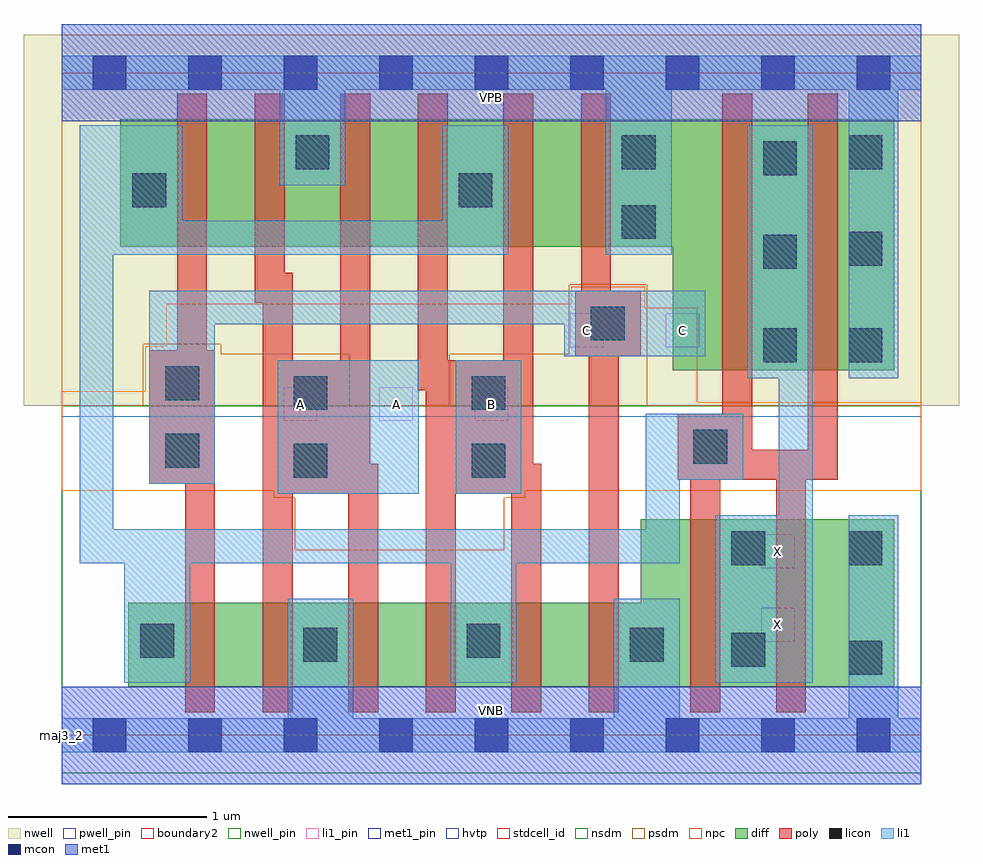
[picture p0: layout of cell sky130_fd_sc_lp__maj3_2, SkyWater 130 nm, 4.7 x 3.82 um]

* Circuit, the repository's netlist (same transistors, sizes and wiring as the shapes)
* Copyright 2020 The SkyWater PDK Authors
*
* Licensed under the Apache License, Version 2.0 (the "License");
* you may not use this file except in compliance with the License.
* You may obtain a copy of the License at
*
*     https://www.apache.org/licenses/LICENSE-2.0
*
* Unless required by applicable law or agreed to in writing, software
* distributed under the License is distributed on an "AS IS" BASIS,
* WITHOUT WARRANTIES OR CONDITIONS OF ANY KIND, either express or implied.
* See the License for the specific language governing permissions and
* limitations under the License.
*
* SPDX-License-Identifier: Apache-2.0

.SUBCKT sky130_fd_sc_lp__maj3_2 A B C VGND VNB VPB VPWR X
*.PININFO A:I B:I C:I VGND:I VNB:I VPB:I VPWR:I X:O
MMIN2 X y VGND VNB sky130_fd_pr__nfet_01v8 m=2 w=0.84U l=0.15U mult=1 sa=0.265
+ sb=0.265 sd=0.28 area=0.063 perim=1.14
MMN10 y B sndNBa VNB sky130_fd_pr__nfet_01v8 m=1 w=0.42U l=0.15U mult=1 sa=0.265
+ sb=0.265 sd=0.28 area=0.063 perim=1.14
MMN11 sndNBa A VGND VNB sky130_fd_pr__nfet_01v8 m=1 w=0.42U l=0.15U mult=1 sa=0.265
+ sb=0.265 sd=0.28 area=0.063 perim=1.14
MMN20 y B sndNBc VNB sky130_fd_pr__nfet_01v8 m=1 w=0.42U l=0.15U mult=1 sa=0.265
+ sb=0.265 sd=0.28 area=0.063 perim=1.14
MMN21 sndNBc C VGND VNB sky130_fd_pr__nfet_01v8 m=1 w=0.42U l=0.15U mult=1 sa=0.265
+ sb=0.265 sd=0.28 area=0.063 perim=1.14
MMN30 y C sndNCa VNB sky130_fd_pr__nfet_01v8 m=1 w=0.42U l=0.15U mult=1 sa=0.265
+ sb=0.265 sd=0.28 area=0.063 perim=1.14
MMN31 sndNCa A VGND VNB sky130_fd_pr__nfet_01v8 m=1 w=0.42U l=0.15U mult=1 sa=0.265
+ sb=0.265 sd=0.28 area=0.063 perim=1.14
MMIP2 X y VPWR VPB sky130_fd_pr__pfet_01v8_hvt m=2 w=1.26U l=0.15U mult=1 sa=0.265
+ sb=0.265 sd=0.28 area=0.063 perim=1.14
MMP10 VPWR A sndPAb VPB sky130_fd_pr__pfet_01v8_hvt m=1 w=0.64U l=0.15U mult=1
+ sa=0.265 sb=0.265 sd=0.28 area=0.063 perim=1.14
MMP11 sndPAb B y VPB sky130_fd_pr__pfet_01v8_hvt m=1 w=0.64U l=0.15U mult=1 sa=0.265
+ sb=0.265 sd=0.28 area=0.063 perim=1.14
MMP20 VPWR C sndPCb VPB sky130_fd_pr__pfet_01v8_hvt m=1 w=0.64U l=0.15U mult=1
+ sa=0.265 sb=0.265 sd=0.28 area=0.063 perim=1.14
MMP21 sndPCb B y VPB sky130_fd_pr__pfet_01v8_hvt m=1 w=0.64U l=0.15U mult=1 sa=0.265
+ sb=0.265 sd=0.28 area=0.063 perim=1.14
MMP30 VPWR A sndPAc VPB sky130_fd_pr__pfet_01v8_hvt m=1 w=0.64U l=0.15U mult=1
+ sa=0.265 sb=0.265 sd=0.28 area=0.063 perim=1.14
MMP31 sndPAc C y VPB sky130_fd_pr__pfet_01v8_hvt m=1 w=0.64U l=0.15U mult=1 sa=0.265
+ sb=0.265 sd=0.28 area=0.063 perim=1.14
.ENDS sky130_fd_sc_lp__maj3_2

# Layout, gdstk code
import gdstk
lib = gdstk.Library(unit=1e-6, precision=1e-09)
def R(c, l, rs):  # rectangles x0, y0, x1, y1
    for r in rs: c.add(gdstk.rectangle(r[:2], r[2:], *l))
def A(c, l, x, y, w, h, nx, ny, dx, dy):  # array of equal rectangles
    R(c, l, [(x+i*dx, y+j*dy, x+i*dx+w, y+j*dy+h) for i in range(nx) for j in range(ny)])
def P(c, l, *ps):  # polygons
    for p in ps: c.add(gdstk.Polygon(p, *l))
nwell_pin = (64, 16)
nwell = (64, 20)
diff = (65, 20)
poly = (66, 20)
licon = (66, 44)
li1_pin = (67, 16)
li1 = (67, 20)
mcon = (67, 44)
met1_pin = (68, 16)
met1 = (68, 20)
hvtp = (78, 44)
stdcell_id = (81, 4)
nsdm = (93, 44)
psdm = (94, 20)
npc = (95, 20)
pwell_pin = (122, 16)
boundary2 = (236, 0)

sky130_fd_sc_lp__maj3_2 = lib.new_cell('sky130_fd_sc_lp__maj3_2')
R(sky130_fd_sc_lp__maj3_2, nwell_pin, [(0,3.085,4.32,3.33)])
R(sky130_fd_sc_lp__maj3_2, nwell, [(-0.19,1.655,4.51,3.52)])
P(sky130_fd_sc_lp__maj3_2, diff, [(4.185,3.095),(0.295,3.095),(0.295,2.455),(3.07,2.455),(3.07,1.835),(4.185,1.835)],
  [(4.185,1.085),(2.91,1.085),(2.91,0.665),(0.335,0.665),(0.335,0.245),(4.185,0.245)])
P(sky130_fd_sc_lp__maj3_2, poly, [(0.77,1.935),(0.73,1.935),(0.73,3.225),(0.58,3.225),(0.58,1.935),(0.44,1.935),(0.44,1.265),(0.62,1.265),(0.62,0.115),(0.77,0.115)],
  [(1.59,1.365),(1.55,1.365),(1.55,3.225),(1.4,3.225),(1.4,1.885),(1.16,1.885),(1.16,2.325),(1.12,2.325),(1.12,3.225),(0.97,3.225),(0.97,2.175),(1.01,2.175),(1.01,0.115),(1.16,0.115),(1.16,1.215),(1.44,1.215),(1.44,0.115),(1.59,0.115)],
  [(2.41,1.365),(2.37,1.365),(2.37,3.225),(2.22,3.225),(2.22,1.885),(1.94,1.885),(1.94,3.225),(1.79,3.225),(1.79,1.735),(1.83,1.735),(1.83,0.115),(1.98,0.115),(1.98,1.215),(2.26,1.215),(2.26,0.115),(2.41,0.115)],
  [(2.91,2.235),(2.76,2.235),(2.76,3.225),(2.61,3.225),(2.61,2.235),(2.58,2.235),(2.58,1.905),(2.65,1.905),(2.65,0.115),(2.8,0.115),(2.8,1.905),(2.91,1.905)],
  [(3.9,3.225),(3.75,3.225),(3.75,1.435),(3.47,1.435),(3.47,3.225),(3.32,3.225),(3.32,1.615),(3.095,1.615),(3.095,1.285),(3.16,1.285),(3.16,0.115),(3.31,0.115),(3.31,1.285),(3.59,1.285),(3.59,0.115),(3.74,0.115),(3.74,1.285),(3.9,1.285)])
A(sky130_fd_sc_lp__maj3_2, licon, 3.525, 1.875, 0.17, 0.17, 1, 3, 0, 0.47)
A(sky130_fd_sc_lp__maj3_2, licon, 3.955, 1.875, 0.17, 0.17, 1, 3, 0, 0.485)
R(sky130_fd_sc_lp__maj3_2, licon, [(3.955,0.305,4.125,0.475), (3.365,0.345,3.535,0.515), (1.215,0.37,1.385,0.54), (2.855,0.37,3.025,0.54), (0.395,0.39,0.565,0.56), (2.035,0.39,2.205,0.56), (3.365,0.855,3.535,1.025), (3.955,0.855,4.125,1.025), (1.165,1.295,1.335,1.465), (2.06,1.295,2.23,1.465), (0.52,1.345,0.69,1.515), (3.175,1.365,3.345,1.535), (1.165,1.635,1.335,1.805), (2.06,1.635,2.23,1.805), (0.52,1.685,0.69,1.855), (2.66,1.985,2.83,2.155), (2.815,2.495,2.985,2.665), (0.355,2.655,0.525,2.825), (1.995,2.655,2.165,2.825), (1.175,2.845,1.345,3.015), (2.815,2.845,2.985,3.015)])
A(sky130_fd_sc_lp__maj3_2, li1_pin, 1.115, 1.58, 0.17, 0.17, 3, 1, 0.48, 0)
R(sky130_fd_sc_lp__maj3_2, li1_pin, [(3.515,0.47,3.685,0.64), (3.515,0.84,3.685,1.01), (2.555,1.95,2.725,2.12), (3.035,1.95,3.205,2.12)])
R(sky130_fd_sc_lp__maj3_2, li1, [(1.085,1.215,1.795,1.885), (1.98,1.215,2.31,1.885)])
P(sky130_fd_sc_lp__maj3_2, li1, [(3.955,1.795),(3.955,3.245),(3.065,3.245),(3.065,2.415),(2.735,2.415),(2.735,3.245),(1.425,3.245),(1.425,2.765),(1.095,2.765),(1.095,3.245),(0,3.245),(0,3.415),(4.32,3.415),(4.32,3.245),(4.205,3.245),(4.205,1.795)],
  [(2.775,0.085),(2.775,0.685),(3.105,0.685),(3.105,0.085),(3.955,0.085),(3.955,1.105),(4.205,1.105),(4.205,0.085),(4.32,0.085),(4.32,-0.085),(0,-0.085),(0,0.085),(1.135,0.085),(1.135,0.685),(1.465,0.685),(1.465,0.085)],
  [(3.285,0.265),(3.285,1.105),(3.605,1.105),(3.605,1.795),(3.445,1.795),(3.445,3.065),(3.775,3.065),(3.775,0.265)],
  [(0.09,0.865),(0.09,3.065),(0.605,3.065),(0.605,2.585),(1.915,2.585),(1.915,3.065),(2.245,3.065),(2.245,2.415),(0.26,2.415),(0.26,1.035),(2.935,1.035),(2.935,1.615),(3.425,1.615),(3.425,1.285),(3.105,1.285),(3.105,0.865),(2.285,0.865),(2.285,0.265),(1.955,0.265),(1.955,0.865),(0.645,0.865),(0.645,0.265),(0.315,0.265),(0.315,0.865)],
  [(2.525,2.065),(0.77,2.065),(0.77,1.265),(0.44,1.265),(0.44,2.235),(3.235,2.235),(3.235,1.905),(2.525,1.905)])
A(sky130_fd_sc_lp__maj3_2, mcon, 0.155, -0.085, 0.17, 0.17, 9, 2, 0.48, 3.33)
R(sky130_fd_sc_lp__maj3_2, met1_pin, [(0,0,4.32,0.245), (0,3.085,4.32,3.33)])
R(sky130_fd_sc_lp__maj3_2, met1, [(0,-0.245,4.32,0.245), (0,3.085,4.32,3.575)])
R(sky130_fd_sc_lp__maj3_2, hvtp, [(0,1.6,4.32,3.33)])
R(sky130_fd_sc_lp__maj3_2, stdcell_id, [(0,0,4.32,3.33)])
R(sky130_fd_sc_lp__maj3_2, nsdm, [(0,-0.19,4.32,1.655)])
P(sky130_fd_sc_lp__maj3_2, psdm, [(4.32,3.52),(0,3.52),(0,1.655),(0.41,1.655),(0.41,1.965),(0.8,1.965),(0.8,1.915),(1.445,1.915),(1.445,1.655),(1.95,1.655),(1.95,1.915),(2.55,1.915),(2.55,2.265),(2.94,2.265),(2.94,1.655),(4.32,1.655)])
P(sky130_fd_sc_lp__maj3_2, npc, [(4.32,1.675),(3.195,1.675),(3.195,2.15),(2.93,2.15),(2.93,2.255),(2.56,2.255),(2.56,2.17),(0.525,2.17),(0.525,1.955),(0.42,1.955),(0.42,1.73),(0,1.73),(0,1.23),(1.065,1.23),(1.065,1.195),(1.17,1.195),(1.17,0.93),(2.225,0.93),(2.225,1.195),(2.33,1.195),(2.33,1.23),(4.32,1.23)])
R(sky130_fd_sc_lp__maj3_2, pwell_pin, [(0,0,4.32,0.245)])
R(sky130_fd_sc_lp__maj3_2, boundary2, [(0,0,4.32,3.33)])
sky130_fd_sc_lp__maj3_2.add(gdstk.Label('VNB', (2.16,0.123), layer=64, texttype=59))
sky130_fd_sc_lp__maj3_2.add(gdstk.Label('VPB', (2.16,3.208), layer=64, texttype=5))
sky130_fd_sc_lp__maj3_2.add(gdstk.Label('maj3_2', (0,0), layer=83, texttype=44))
sky130_fd_sc_lp__maj3_2.add(gdstk.Label('VPWR', (2.16,3.208), layer=68, texttype=5))
sky130_fd_sc_lp__maj3_2.add(gdstk.Label('VGND', (2.16,0.123), layer=68, texttype=5))
sky130_fd_sc_lp__maj3_2.add(gdstk.Label('X', (3.6,0.555), layer=67, texttype=5))
sky130_fd_sc_lp__maj3_2.add(gdstk.Label('X', (3.6,0.925), layer=67, texttype=5))
sky130_fd_sc_lp__maj3_2.add(gdstk.Label('A', (1.2,1.665), layer=67, texttype=5))
sky130_fd_sc_lp__maj3_2.add(gdstk.Label('A', (1.68,1.665), layer=67, texttype=5))
sky130_fd_sc_lp__maj3_2.add(gdstk.Label('B', (2.16,1.665), layer=67, texttype=5))
sky130_fd_sc_lp__maj3_2.add(gdstk.Label('C', (2.64,2.035), layer=67, texttype=5))
sky130_fd_sc_lp__maj3_2.add(gdstk.Label('C', (3.12,2.035), layer=67, texttype=5))

lib.write_gds('sky130_fd_sc_lp__maj3_2.gds')
